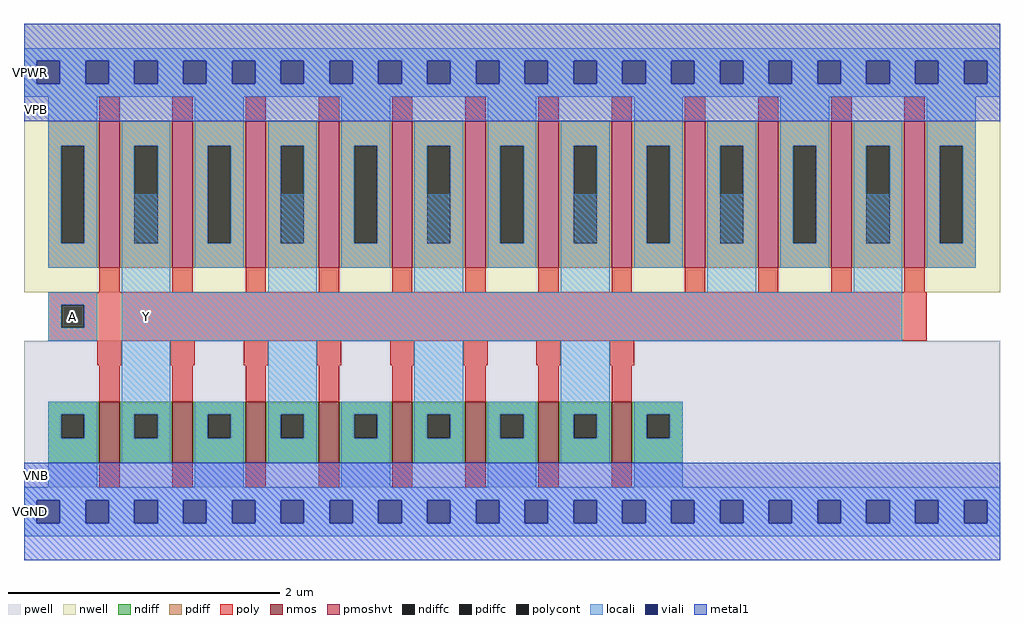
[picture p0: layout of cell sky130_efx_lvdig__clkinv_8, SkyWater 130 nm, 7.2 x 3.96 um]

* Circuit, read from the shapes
.subckt sky130_efx_lvdig__clkinv_8 A Y VPWR VGND VPB VNB
XM1 Y A VGND VNB sky130_fd_pr__nfet_01v8 w=0.45 l=0.15 m=8
XM2 Y A VPWR VPB sky130_fd_pr__pfet_01v8_hvt w=1.08 l=0.15 m=12
.ends

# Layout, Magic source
magic
tech sky130A
magscale 1 2
<< nwell >>
rect 0 288 1440 684
<< pwell >>
rect 0 0 1440 216
<< poly >>
rect 36 269 1332 288
rect 36 235 55 269
rect 89 235 1332 269
rect 36 216 1332 235
rect 108 180 144 216
rect 216 180 252 216
rect 324 180 360 216
rect 432 180 468 216
rect 540 180 576 216
rect 648 180 684 216
rect 756 180 792 216
rect 864 180 900 216
<< polycont >>
rect 55 235 89 269
<< locali >>
rect 0 629 1440 648
rect 0 595 19 629
rect 53 595 91 629
rect 125 595 163 629
rect 197 595 235 629
rect 269 595 307 629
rect 341 595 379 629
rect 413 595 451 629
rect 485 595 523 629
rect 557 595 595 629
rect 629 595 667 629
rect 701 595 739 629
rect 773 595 811 629
rect 845 595 883 629
rect 917 595 955 629
rect 989 595 1027 629
rect 1061 595 1099 629
rect 1133 595 1171 629
rect 1205 595 1243 629
rect 1277 595 1315 629
rect 1349 595 1387 629
rect 1421 595 1440 629
rect 0 576 1440 595
rect 36 504 108 576
rect 252 504 324 576
rect 468 504 540 576
rect 684 504 756 576
rect 900 504 972 576
rect 1116 504 1188 576
rect 1332 504 1404 576
rect 144 288 216 432
rect 360 288 432 432
rect 576 288 648 432
rect 792 288 864 432
rect 1008 288 1080 432
rect 1224 288 1296 432
rect 36 269 108 288
rect 36 235 55 269
rect 89 235 108 269
rect 36 216 108 235
rect 144 216 1296 288
rect 144 108 216 216
rect 360 108 432 216
rect 576 108 648 216
rect 792 108 864 216
rect 36 0 108 72
rect 252 0 324 72
rect 468 0 540 72
rect 684 0 756 72
rect 900 0 972 72
rect 0 -19 1440 0
rect 0 -53 19 -19
rect 53 -53 91 -19
rect 125 -53 163 -19
rect 197 -53 235 -19
rect 269 -53 307 -19
rect 341 -53 379 -19
rect 413 -53 451 -19
rect 485 -53 523 -19
rect 557 -53 595 -19
rect 629 -53 667 -19
rect 701 -53 739 -19
rect 773 -53 811 -19
rect 845 -53 883 -19
rect 917 -53 955 -19
rect 989 -53 1027 -19
rect 1061 -53 1099 -19
rect 1133 -53 1171 -19
rect 1205 -53 1243 -19
rect 1277 -53 1315 -19
rect 1349 -53 1387 -19
rect 1421 -53 1440 -19
rect 0 -72 1440 -53
<< viali >>
rect 19 595 53 629
rect 91 595 125 629
rect 163 595 197 629
rect 235 595 269 629
rect 307 595 341 629
rect 379 595 413 629
rect 451 595 485 629
rect 523 595 557 629
rect 595 595 629 629
rect 667 595 701 629
rect 739 595 773 629
rect 811 595 845 629
rect 883 595 917 629
rect 955 595 989 629
rect 1027 595 1061 629
rect 1099 595 1133 629
rect 1171 595 1205 629
rect 1243 595 1277 629
rect 1315 595 1349 629
rect 1387 595 1421 629
rect 19 -53 53 -19
rect 91 -53 125 -19
rect 163 -53 197 -19
rect 235 -53 269 -19
rect 307 -53 341 -19
rect 379 -53 413 -19
rect 451 -53 485 -19
rect 523 -53 557 -19
rect 595 -53 629 -19
rect 667 -53 701 -19
rect 739 -53 773 -19
rect 811 -53 845 -19
rect 883 -53 917 -19
rect 955 -53 989 -19
rect 1027 -53 1061 -19
rect 1099 -53 1133 -19
rect 1171 -53 1205 -19
rect 1243 -53 1277 -19
rect 1315 -53 1349 -19
rect 1387 -53 1421 -19
<< metal1 >>
rect 0 629 1440 684
rect 0 595 19 629
rect 53 595 91 629
rect 125 595 163 629
rect 197 595 235 629
rect 269 595 307 629
rect 341 595 379 629
rect 413 595 451 629
rect 485 595 523 629
rect 557 595 595 629
rect 629 595 667 629
rect 701 595 739 629
rect 773 595 811 629
rect 845 595 883 629
rect 917 595 955 629
rect 989 595 1027 629
rect 1061 595 1099 629
rect 1133 595 1171 629
rect 1205 595 1243 629
rect 1277 595 1315 629
rect 1349 595 1387 629
rect 1421 595 1440 629
rect 0 540 1440 595
rect 0 -19 1440 36
rect 0 -53 19 -19
rect 53 -53 91 -19
rect 125 -53 163 -19
rect 197 -53 235 -19
rect 269 -53 307 -19
rect 341 -53 379 -19
rect 413 -53 451 -19
rect 485 -53 523 -19
rect 557 -53 595 -19
rect 629 -53 667 -19
rect 701 -53 739 -19
rect 773 -53 811 -19
rect 845 -53 883 -19
rect 917 -53 955 -19
rect 989 -53 1027 -19
rect 1061 -53 1099 -19
rect 1133 -53 1171 -19
rect 1205 -53 1243 -19
rect 1277 -53 1315 -19
rect 1349 -53 1387 -19
rect 1421 -53 1440 -19
rect 0 -108 1440 -53
use nmos_n2f5_f1_l150  nmos_n2f5_f1_l150_0
transform 1 0 72 0 1 36
box -72 -36 180 144
use nmos_n2f5_f1_l150  nmos_n2f5_f1_l150_1
transform 1 0 180 0 1 36
box -72 -36 180 144
use nmos_n2f5_f1_l150  nmos_n2f5_f1_l150_2
transform 1 0 288 0 1 36
box -72 -36 180 144
use nmos_n2f5_f1_l150  nmos_n2f5_f1_l150_3
transform 1 0 396 0 1 36
box -72 -36 180 144
use nmos_n2f5_f1_l150  nmos_n2f5_f1_l150_4
transform 1 0 504 0 1 36
box -72 -36 180 144
use nmos_n2f5_f1_l150  nmos_n2f5_f1_l150_5
transform 1 0 612 0 1 36
box -72 -36 180 144
use nmos_n2f5_f1_l150  nmos_n2f5_f1_l150_6
transform 1 0 720 0 1 36
box -72 -36 180 144
use nmos_n2f5_f1_l150  nmos_n2f5_f1_l150_7
transform 1 0 828 0 1 36
box -72 -36 180 144
use pmos_n6_f1_l150_hvt  pmos_n6_f1_l150_hvt_0
transform 1 0 72 0 1 324
box -72 -36 180 252
use pmos_n6_f1_l150_hvt  pmos_n6_f1_l150_hvt_1
transform 1 0 180 0 1 324
box -72 -36 180 252
use pmos_n6_f1_l150_hvt  pmos_n6_f1_l150_hvt_2
transform 1 0 288 0 1 324
box -72 -36 180 252
use pmos_n6_f1_l150_hvt  pmos_n6_f1_l150_hvt_3
transform 1 0 396 0 1 324
box -72 -36 180 252
use pmos_n6_f1_l150_hvt  pmos_n6_f1_l150_hvt_4
transform 1 0 504 0 1 324
box -72 -36 180 252
use pmos_n6_f1_l150_hvt  pmos_n6_f1_l150_hvt_5
transform 1 0 612 0 1 324
box -72 -36 180 252
use pmos_n6_f1_l150_hvt  pmos_n6_f1_l150_hvt_6
transform 1 0 720 0 1 324
box -72 -36 180 252
use pmos_n6_f1_l150_hvt  pmos_n6_f1_l150_hvt_7
transform 1 0 828 0 1 324
box -72 -36 180 252
use pmos_n6_f1_l150_hvt  pmos_n6_f1_l150_hvt_8
transform 1 0 936 0 1 324
box -72 -36 180 252
use pmos_n6_f1_l150_hvt  pmos_n6_f1_l150_hvt_9
transform 1 0 1044 0 1 324
box -72 -36 180 252
use pmos_n6_f1_l150_hvt  pmos_n6_f1_l150_hvt_10
transform 1 0 1152 0 1 324
box -72 -36 180 252
use pmos_n6_f1_l150_hvt  pmos_n6_f1_l150_hvt_11
transform 1 0 1260 0 1 324
box -72 -36 180 252
<< labels >>
flabel locali 36 216 108 288 0 FreeSans 288 0 0 0 A
port 1 nsew signal input
flabel locali 144 216 216 288 0 FreeSans 288 0 0 0 Y
port 2 nsew signal output
flabel metal1 0 576 18 648 0 FreeSans 288 0 0 0 VPWR
port 3 nsew power bidirectional
flabel metal1 0 -72 18 0 0 FreeSans 288 0 0 0 VGND
port 4 nsew ground bidirectional
flabel nwell 0 540 36 576 0 FreeSans 288 0 0 0 VPB
port 5 nsew power bidirectional
flabel pwell 0 0 36 36 0 FreeSans 288 0 0 0 VNB
port 6 nsew ground bidirectional
<< properties >>
string FIXED_BBOX 0 -36 1440 612
<< end >>

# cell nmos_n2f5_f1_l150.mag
magic
tech sky130A
magscale 1 2
<< pwell >>
rect -72 -36 180 144
<< nmos >>
rect 39 0 69 90
<< ndiff >>
rect -36 72 39 90
rect -36 36 -17 72
rect 17 36 39 72
rect -36 0 39 36
rect 69 72 144 90
rect 69 36 91 72
rect 125 36 144 72
rect 69 0 144 36
<< ndiffc >>
rect -17 36 17 72
rect 91 36 125 72
<< poly >>
rect 39 90 69 144
rect 39 -36 69 0
<< locali >>
rect -36 72 36 90
rect -36 36 -17 72
rect 17 36 36 72
rect -36 0 36 36
rect 72 72 144 90
rect 72 36 91 72
rect 125 36 144 72
rect 72 0 144 36
<< labels >>
rlabel locali 0 18 0 18 0 S0
port 1 nsew
rlabel locali 108 18 108 18 0 D0
port 2 nsew
<< end >>

# cell pmos_n6_f1_l150_hvt: kit device pmos, n 6 fingers 1 length 0.15 butted 0 ltap 0 rtap 0 vt hvt tgate 0 bgate 0
